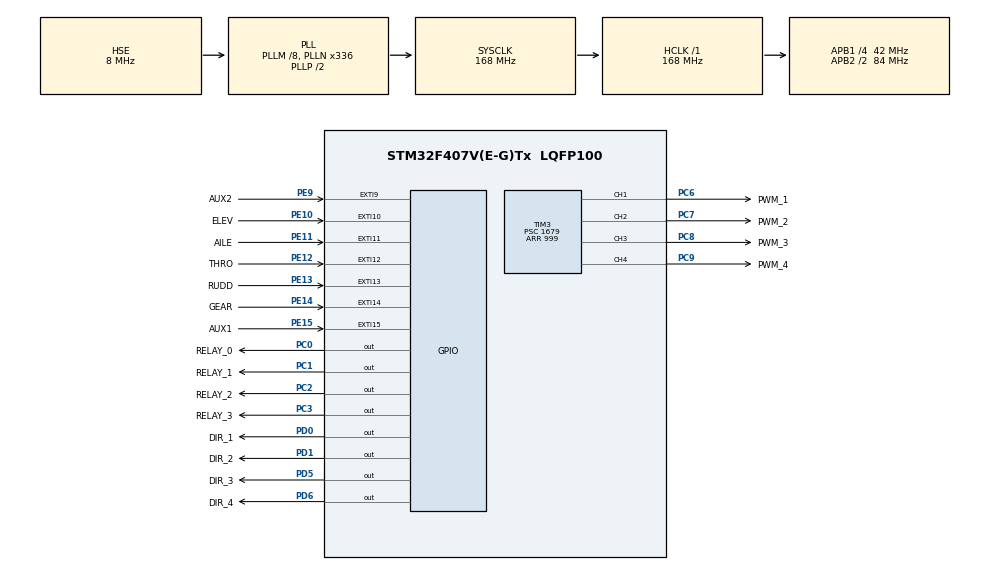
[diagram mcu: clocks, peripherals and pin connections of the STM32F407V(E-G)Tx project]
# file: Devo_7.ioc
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Mcu.Family=STM32F4
Mcu.Name=STM32F407V(E-G)Tx
Mcu.Package=LQFP100
NVIC.EXTI15_10_IRQn=true\:1\:0\:true\:false\:true\:true
NVIC.EXTI9_5_IRQn=true\:1\:0\:true\:false\:true\:true
NVIC.PriorityGroup=NVIC_PRIORITYGROUP_4
NVIC.TIM4_IRQn=true\:2\:0\:true\:false\:true\:true
NVIC.TIM5_IRQn=true\:2\:0\:true\:false\:true\:true
PA13.Mode=Serial_Wire
PA13.Signal=SYS_JTMS-SWDIO
PA14.Mode=Serial_Wire
PA14.Signal=SYS_JTCK-SWCLK
PC0.GPIO_Label=RELAY_0
PC0.Signal=GPIO_Output
PC1.GPIO_Label=RELAY_1
PC1.Signal=GPIO_Output
PC2.GPIO_Label=RELAY_2
PC2.Signal=GPIO_Output
PC3.GPIO_Label=RELAY_3
PC3.Signal=GPIO_Output
PC6.GPIO_Label=PWM_1
PC6.Signal=S_TIM3_CH1
PC7.GPIO_Label=PWM_2
PC7.Signal=S_TIM3_CH2
PC8.GPIO_Label=PWM_3
PC8.Signal=S_TIM3_CH3
PC9.GPIO_Label=PWM_4
PC9.Signal=S_TIM3_CH4
PD0.GPIO_Label=DIR_1
PD0.Signal=GPIO_Output
PD1.GPIO_Label=DIR_2
PD1.Signal=GPIO_Output
PD5.GPIO_Label=DIR_3
PD5.Signal=GPIO_Output
PD6.GPIO_Label=DIR_4
PD6.Signal=GPIO_Output
PE10.GPIO_Label=ELEV
PE10.GPIO_ModeDefaultEXTI=GPIO_MODE_IT_RISING_FALLING
PE10.Signal=GPXTI10
PE11.GPIO_Label=AILE
PE11.GPIO_ModeDefaultEXTI=GPIO_MODE_IT_RISING_FALLING
PE11.Signal=GPXTI11
PE12.GPIO_Label=THRO
PE12.GPIO_ModeDefaultEXTI=GPIO_MODE_IT_RISING_FALLING
PE12.Signal=GPXTI12
PE13.GPIO_Label=RUDD
PE13.GPIO_ModeDefaultEXTI=GPIO_MODE_IT_RISING_FALLING
PE13.Signal=GPXTI13
PE14.GPIO_Label=GEAR
PE14.GPIO_ModeDefaultEXTI=GPIO_MODE_IT_RISING_FALLING
PE14.Signal=GPXTI14
PE15.GPIO_Label=AUX1
PE15.GPIO_ModeDefaultEXTI=GPIO_MODE_IT_RISING_FALLING
PE15.Signal=GPXTI15
PE9.GPIO_Label=AUX2
PE9.GPIO_ModeDefaultEXTI=GPIO_MODE_IT_RISING_FALLING
PE9.Signal=GPXTI9
PH0-OSC_IN.Mode=HSE-External-Oscillator
PH0-OSC_IN.Signal=RCC_OSC_IN
PH1-OSC_OUT.Mode=HSE-External-Oscillator
PH1-OSC_OUT.Signal=RCC_OSC_OUT
ProjectManager.HeapSize=0x200
ProjectManager.StackSize=0x400
ProjectManager.TargetToolchain=TrueSTUDIO
RCC.48MHZClocksFreq_Value=84000000
RCC.AHBFreq_Value=168000000
RCC.APB1CLKDivider=RCC_HCLK_DIV4
RCC.APB1Freq_Value=42000000
RCC.APB1TimFreq_Value=84000000
RCC.APB2CLKDivider=RCC_HCLK_DIV2
RCC.APB2Freq_Value=84000000
RCC.APB2TimFreq_Value=168000000
RCC.CortexFreq_Value=168000000
RCC.EnbaleCSS=true
RCC.HCLKFreq_Value=168000000
RCC.HSE_VALUE=8000000
RCC.HSI_VALUE=16000000
RCC.LSE_VALUE=32768
RCC.PLLM=8
RCC.PLLN=336
RCC.PLLSourceVirtual=RCC_PLLSOURCE_HSE
RCC.SYSCLKFreq_VALUE=168000000
RCC.SYSCLKSource=RCC_SYSCLKSOURCE_PLLCLK
RCC.VCOOutputFreq_Value=336000000
SH.S_TIM3_CH1.0=TIM3_CH1,PWM Generation1 CH1
SH.S_TIM3_CH2.0=TIM3_CH2,PWM Generation2 CH2
SH.S_TIM3_CH3.0=TIM3_CH3,PWM Generation3 CH3
SH.S_TIM3_CH4.0=TIM3_CH4,PWM Generation4 CH4
TIM2.Period=0xFFFFFFFF
TIM2.Prescaler=83
TIM3.Channel-PWM\ Generation1\ CH1=TIM_CHANNEL_1
TIM3.Channel-PWM\ Generation2\ CH2=TIM_CHANNEL_2
TIM3.Channel-PWM\ Generation3\ CH3=TIM_CHANNEL_3
TIM3.Channel-PWM\ Generation4\ CH4=TIM_CHANNEL_4
TIM3.OCPolarity_1=TIM_OCPOLARITY_LOW
TIM3.OCPolarity_2=TIM_OCPOLARITY_LOW
TIM3.OCPolarity_3=TIM_OCPOLARITY_LOW
TIM3.OCPolarity_4=TIM_OCPOLARITY_LOW
TIM3.Period=999
TIM3.Prescaler=1679
TIM4.Period=39999
TIM4.Prescaler=83
TIM5.Period=39999
TIM5.Prescaler=83
VP_TIM2_VS_ClockSourceINT.Mode=Internal
VP_TIM4_VS_ClockSourceINT.Mode=Internal
VP_TIM5_VS_ClockSourceINT.Mode=Internal
board=custom

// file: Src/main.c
/**
  ******************************************************************************
  * @file           : main.c
  * @brief          : Main program body
  ******************************************************************************
  ** This notice applies to any and all portions of this file
  * that are not between comment pairs USER CODE BEGIN and
  * USER CODE END. Other portions of this file, whether
  * inserted by the user or by software development tools
  * are owned by their respective copyright owners.
  *
  * COPYRIGHT(c) 2019 STMicroelectronics
  *
  * Redistribution and use in source and binary forms, with or without modification,
  * are permitted provided that the following conditions are met:
  *   1. Redistributions of source code must retain the above copyright notice,
  *      this list of conditions and the following disclaimer.
  *   2. Redistributions in binary form must reproduce the above copyright notice,
  *      this list of conditions and the following disclaimer in the documentation
  *      and/or other materials provided with the distribution.
  *   3. Neither the name of STMicroelectronics nor the names of its contributors
  *      may be used to endorse or promote products derived from this software
  *      without specific prior written permission.
  *
  * THIS SOFTWARE IS PROVIDED BY THE COPYRIGHT HOLDERS AND CONTRIBUTORS "AS IS"
  * AND ANY EXPRESS OR IMPLIED WARRANTIES, INCLUDING, BUT NOT LIMITED TO, THE
  * IMPLIED WARRANTIES OF MERCHANTABILITY AND FITNESS FOR A PARTICULAR PURPOSE ARE
  * DISCLAIMED. IN NO EVENT SHALL THE COPYRIGHT HOLDER OR CONTRIBUTORS BE LIABLE
  * FOR ANY DIRECT, INDIRECT, INCIDENTAL, SPECIAL, EXEMPLARY, OR CONSEQUENTIAL
  * DAMAGES (INCLUDING, BUT NOT LIMITED TO, PROCUREMENT OF SUBSTITUTE GOODS OR
  * SERVICES; LOSS OF USE, DATA, OR PROFITS; OR BUSINESS INTERRUPTION) HOWEVER
  * CAUSED AND ON ANY THEORY OF LIABILITY, WHETHER IN CONTRACT, STRICT LIABILITY,
  * OR TORT (INCLUDING NEGLIGENCE OR OTHERWISE) ARISING IN ANY WAY OUT OF THE USE
  * OF THIS SOFTWARE, EVEN IF ADVISED OF THE POSSIBILITY OF SUCH DAMAGE.
  *
  ******************************************************************************
  */
#include "main.h"
#include "stm32f4xx_hal.h"

TIM_HandleTypeDef htim2;
TIM_HandleTypeDef htim3;
TIM_HandleTypeDef htim4;
TIM_HandleTypeDef htim5;

/* USER CODE BEGIN PV */
/* Private variables ---------------------------------------------------------*/
__IO uint16_t u16_PwmLeft = 0, u16_PwmRight = 0;
__IO int16_t i16_PwmLeftTemp = 0, i16_PwmRightTemp = 0;
__IO float f_PwmLeftTemp = 0, f_PwmRightTemp = 0;
__IO float f_PwmLeftFilter = 0, f_PwmRightFilter = 0;
__I float f_Kfilter = 0.025f;
__IO int16_t i16_PwmDirTemp = 0;

extern int32_t HighPulse[];
extern int32_t LowPulse[];
/* USER CODE END PV */

void SystemClock_Config(void);
static void MX_GPIO_Init(void);
static void MX_TIM2_Init(void);
static void MX_TIM3_Init(void);
static void MX_TIM4_Init(void);
static void MX_TIM5_Init(void);

void HAL_TIM_MspPostInit(TIM_HandleTypeDef *htim);

/* USER CODE BEGIN PFP */
/* Private function prototypes -----------------------------------------------*/

/* USER CODE END PFP */

int main(void)
{

  /* MCU Configuration----------------------------------------------------------*/

  /* Reset of all peripherals, Initializes the Flash interface and the Systick. */
  HAL_Init();

  /* Configure the system clock */
  SystemClock_Config();

  /* Initialize all configured peripherals */
  MX_GPIO_Init();
  MX_TIM2_Init();
  MX_TIM3_Init();
  MX_TIM4_Init();
  MX_TIM5_Init();
  /* USER CODE BEGIN 2 */
  /* Enable the Capture compare channel */
  TIM_CCxChannelCmd(htim3.Instance, TIM_CHANNEL_1, TIM_CCx_ENABLE);
  TIM_CCxChannelCmd(htim3.Instance, TIM_CHANNEL_2, TIM_CCx_ENABLE);
  TIM_CCxChannelCmd(htim3.Instance, TIM_CHANNEL_3, TIM_CCx_ENABLE);
  TIM_CCxChannelCmd(htim3.Instance, TIM_CHANNEL_4, TIM_CCx_ENABLE);
  /* Enable the main output */
  __HAL_TIM_MOE_ENABLE(&htim3);
  /* Clear the IT pending Bit */
  __HAL_TIM_CLEAR_IT(&htim3, TIM_IT_UPDATE);
  /* Disable the TIM Update interrupt */
  __HAL_TIM_DISABLE_IT(&htim3, TIM_IT_UPDATE);
__HAL_TIM_SET_COMPARE1(&htim3, 499);

__HAL_TIM_SET_COMPARE2(&htim3, 499);
__HAL_TIM_SET_COMPARE3(&htim3, 499);
__HAL_TIM_SET_COMPARE4(&htim3, 499);
__HAL_TIM_ENABLE(&htim3);
/*Enable Timer*/
__HAL_TIM_ENABLE(&htim2);
/* Clear the IT pending Bit */
__HAL_TIM_CLEAR_IT(&htim2, TIM_IT_UPDATE);
/* Disable the TIM Update interrupt */
__HAL_TIM_DISABLE_IT(&htim2, TIM_IT_UPDATE);

/*Enable Timer*/
__HAL_TIM_ENABLE(&htim4);
/* Clear the IT pending Bit */
__HAL_TIM_CLEAR_IT(&htim4, TIM_IT_UPDATE);
/* Disable the TIM Update interrupt */
__HAL_TIM_ENABLE_IT(&htim4, TIM_IT_UPDATE);

/*Enable Timer*/
__HAL_TIM_ENABLE(&htim5);
/* Clear the IT pending Bit */
__HAL_TIM_CLEAR_IT(&htim5, TIM_IT_UPDATE);
/* Disable the TIM Update interrupt */
__HAL_TIM_ENABLE_IT(&htim5, TIM_IT_UPDATE);
  /* USER CODE END 2 */

  /* Infinite loop */
  while (1)
  {

  /* USER CODE BEGIN 3 */

    i16_PwmLeftTemp = HighPulse[0] - HighPulse[3];
    if(i16_PwmLeftTemp >= 400)
    {
      i16_PwmLeftTemp = 400;
    }
    if(i16_PwmLeftTemp <= -400)
    {
      i16_PwmLeftTemp = -400;
    }
//    if(HighPulse[4] >= 0)
//    {}
//    else
//    {
//      i16_PwmLeftTemp = -i16_PwmLeftTemp;
//    }
    f_PwmLeftTemp = i16_PwmLeftTemp * 2.5f;
    f_PwmLeftFilter += f_Kfilter *(f_PwmLeftTemp - f_PwmLeftFilter);

    i16_PwmRightTemp = HighPulse[0] + HighPulse[3];
    if(i16_PwmRightTemp >= 400)
    {
      i16_PwmRightTemp = 400;
    }
    else if(i16_PwmRightTemp <= -400)
    {
      i16_PwmRightTemp = -400;
    }
//    if(HighPulse[4] >= 0)
//    {}
//    else
//    {
//      i16_PwmRightTemp = -i16_PwmRightTemp;
//    }
    f_PwmRightTemp = i16_PwmRightTemp * 2.5f;
    f_PwmRightFilter += f_Kfilter *(f_PwmRightTemp - f_PwmRightFilter);

    if(f_PwmLeftFilter >= 0)
    {
      u16_PwmLeft = f_PwmLeftFilter;
      __HAL_GPIO_RESET_GPIO(DIR_1_GPIO_Port, DIR_1_Pin);
    }
    else
    {
      u16_PwmLeft = -f_PwmLeftFilter;
      __HAL_GPIO_SET_GPIO(DIR_1_GPIO_Port, DIR_1_Pin);
    }
    if(f_PwmRightFilter >= 0)
    {
      u16_PwmRight = f_PwmRightFilter;
      __HAL_GPIO_RESET_GPIO(DIR_2_GPIO_Port, DIR_2_Pin);
    }
    else
    {
      u16_PwmRight = -f_PwmRightFilter;
      __HAL_GPIO_SET_GPIO(DIR_2_GPIO_Port, DIR_2_Pin);
    }
    __HAL_TIM_SET_COMPARE1(&htim3, u16_PwmLeft);
    __HAL_TIM_SET_COMPARE2(&htim3, u16_PwmRight);

    //RELAY
//    if(HighPulse[5] >= 0)
//    {
//      __HAL_GPIO_RESET_GPIO(RELAY_0_GPIO_Port, RELAY_0_Pin);
//      __HAL_GPIO_RESET_GPIO(RELAY_1_GPIO_Port, RELAY_1_Pin);
//      __HAL_GPIO_RESET_GPIO(RELAY_2_GPIO_Port, RELAY_2_Pin);
//      __HAL_GPIO_RESET_GPIO(RELAY_3_GPIO_Port, RELAY_3_Pin);
//    }
//    else
//    {
//      __HAL_GPIO_SET_GPIO(RELAY_0_GPIO_Port, RELAY_0_Pin);
//      __HAL_GPIO_SET_GPIO(RELAY_1_GPIO_Port, RELAY_1_Pin);
//      __HAL_GPIO_SET_GPIO(RELAY_2_GPIO_Port, RELAY_2_Pin);
//      __HAL_GPIO_SET_GPIO(RELAY_3_GPIO_Port, RELAY_3_Pin);
//    }
    HAL_Delay(1);
  }
  /* USER CODE END 3 */

}

void SystemClock_Config(void)
{

  RCC_OscInitTypeDef RCC_OscInitStruct;
  RCC_ClkInitTypeDef RCC_ClkInitStruct;

    /**Configure the main internal regulator output voltage
    */
  __HAL_RCC_PWR_CLK_ENABLE();

  __HAL_PWR_VOLTAGESCALING_CONFIG(PWR_REGULATOR_VOLTAGE_SCALE1);

    /**Initializes the CPU, AHB and APB busses clocks
    */
  RCC_OscInitStruct.OscillatorType = RCC_OSCILLATORTYPE_HSE;
  RCC_OscInitStruct.HSEState = RCC_HSE_ON;
  RCC_OscInitStruct.PLL.PLLState = RCC_PLL_ON;
  RCC_OscInitStruct.PLL.PLLSource = RCC_PLLSOURCE_HSE;
  RCC_OscInitStruct.PLL.PLLM = 8;
  RCC_OscInitStruct.PLL.PLLN = 336;
  RCC_OscInitStruct.PLL.PLLP = RCC_PLLP_DIV2;
  RCC_OscInitStruct.PLL.PLLQ = 4;
  if (HAL_RCC_OscConfig(&RCC_OscInitStruct) != HAL_OK)
  {
    _Error_Handler(__FILE__, __LINE__);
  }

    /**Initializes the CPU, AHB and APB busses clocks
    */
  RCC_ClkInitStruct.ClockType = RCC_CLOCKTYPE_HCLK|RCC_CLOCKTYPE_SYSCLK
                              |RCC_CLOCKTYPE_PCLK1|RCC_CLOCKTYPE_PCLK2;
  RCC_ClkInitStruct.SYSCLKSource = RCC_SYSCLKSOURCE_PLLCLK;
  RCC_ClkInitStruct.AHBCLKDivider = RCC_SYSCLK_DIV1;
  RCC_ClkInitStruct.APB1CLKDivider = RCC_HCLK_DIV4;
  RCC_ClkInitStruct.APB2CLKDivider = RCC_HCLK_DIV2;

  if (HAL_RCC_ClockConfig(&RCC_ClkInitStruct, FLASH_LATENCY_5) != HAL_OK)
  {
    _Error_Handler(__FILE__, __LINE__);
  }

    /**Enables the Clock Security System
    */
  HAL_RCC_EnableCSS();

    /**Configure the Systick interrupt time
    */
  HAL_SYSTICK_Config(HAL_RCC_GetHCLKFreq()/1000);

    /**Configure the Systick
    */
  HAL_SYSTICK_CLKSourceConfig(SYSTICK_CLKSOURCE_HCLK);

  /* SysTick_IRQn interrupt configuration */
  HAL_NVIC_SetPriority(SysTick_IRQn, 0, 0);
}

/* TIM2 init function */
static void MX_TIM2_Init(void)
{

  TIM_ClockConfigTypeDef sClockSourceConfig;
  TIM_MasterConfigTypeDef sMasterConfig;

  htim2.Instance = TIM2;
  htim2.Init.Prescaler = 83;
  htim2.Init.CounterMode = TIM_COUNTERMODE_UP;
  htim2.Init.Period = 0xFFFFFFFF;
  htim2.Init.ClockDivision = TIM_CLOCKDIVISION_DIV1;
  if (HAL_TIM_Base_Init(&htim2) != HAL_OK)
  {
    _Error_Handler(__FILE__, __LINE__);
  }

  sClockSourceConfig.ClockSource = TIM_CLOCKSOURCE_INTERNAL;
  if (HAL_TIM_ConfigClockSource(&htim2, &sClockSourceConfig) != HAL_OK)
  {
    _Error_Handler(__FILE__, __LINE__);
  }

  sMasterConfig.MasterOutputTrigger = TIM_TRGO_RESET;
  sMasterConfig.MasterSlaveMode = TIM_MASTERSLAVEMODE_DISABLE;
  if (HAL_TIMEx_MasterConfigSynchronization(&htim2, &sMasterConfig) != HAL_OK)
  {
    _Error_Handler(__FILE__, __LINE__);
  }

}

/* TIM3 init function */
static void MX_TIM3_Init(void)
{

  TIM_MasterConfigTypeDef sMasterConfig;
  TIM_OC_InitTypeDef sConfigOC;

  htim3.Instance = TIM3;
  htim3.Init.Prescaler = 1679;
  htim3.Init.CounterMode = TIM_COUNTERMODE_UP;
  htim3.Init.Period = 999;
  htim3.Init.ClockDivision = TIM_CLOCKDIVISION_DIV1;
  if (HAL_TIM_PWM_Init(&htim3) != HAL_OK)
  {
    _Error_Handler(__FILE__, __LINE__);
  }

  sMasterConfig.MasterOutputTrigger = TIM_TRGO_RESET;
  sMasterConfig.MasterSlaveMode = TIM_MASTERSLAVEMODE_DISABLE;
  if (HAL_TIMEx_MasterConfigSynchronization(&htim3, &sMasterConfig) != HAL_OK)
  {
    _Error_Handler(__FILE__, __LINE__);
  }

  sConfigOC.OCMode = TIM_OCMODE_PWM1;
  sConfigOC.Pulse = 0;
  sConfigOC.OCPolarity = TIM_OCPOLARITY_LOW;
  sConfigOC.OCFastMode = TIM_OCFAST_DISABLE;
  if (HAL_TIM_PWM_ConfigChannel(&htim3, &sConfigOC, TIM_CHANNEL_1) != HAL_OK)
  {
    _Error_Handler(__FILE__, __LINE__);
  }

  if (HAL_TIM_PWM_ConfigChannel(&htim3, &sConfigOC, TIM_CHANNEL_2) != HAL_OK)
  {
    _Error_Handler(__FILE__, __LINE__);
  }

  if (HAL_TIM_PWM_ConfigChannel(&htim3, &sConfigOC, TIM_CHANNEL_3) != HAL_OK)
  {
    _Error_Handler(__FILE__, __LINE__);
  }

  if (HAL_TIM_PWM_ConfigChannel(&htim3, &sConfigOC, TIM_CHANNEL_4) != HAL_OK)
  {
    _Error_Handler(__FILE__, __LINE__);
  }

  HAL_TIM_MspPostInit(&htim3);

}

/* TIM4 init function */
static void MX_TIM4_Init(void)
{

  TIM_ClockConfigTypeDef sClockSourceConfig;
  TIM_MasterConfigTypeDef sMasterConfig;

  htim4.Instance = TIM4;
  htim4.Init.Prescaler = 83;
  htim4.Init.CounterMode = TIM_COUNTERMODE_UP;
  htim4.Init.Period = 39999;
  htim4.Init.ClockDivision = TIM_CLOCKDIVISION_DIV1;
  if (HAL_TIM_Base_Init(&htim4) != HAL_OK)
  {
    _Error_Handler(__FILE__, __LINE__);
  }

  sClockSourceConfig.ClockSource = TIM_CLOCKSOURCE_INTERNAL;
  if (HAL_TIM_ConfigClockSource(&htim4, &sClockSourceConfig) != HAL_OK)
  {
    _Error_Handler(__FILE__, __LINE__);
  }

  sMasterConfig.MasterOutputTrigger = TIM_TRGO_RESET;
  sMasterConfig.MasterSlaveMode = TIM_MASTERSLAVEMODE_DISABLE;
  if (HAL_TIMEx_MasterConfigSynchronization(&htim4, &sMasterConfig) != HAL_OK)
  {
    _Error_Handler(__FILE__, __LINE__);
  }

}

/* TIM5 init function */
static void MX_TIM5_Init(void)
{

  TIM_ClockConfigTypeDef sClockSourceConfig;
  TIM_MasterConfigTypeDef sMasterConfig;

  htim5.Instance = TIM5;
  htim5.Init.Prescaler = 83;
  htim5.Init.CounterMode = TIM_COUNTERMODE_UP;
  htim5.Init.Period = 39999;
  htim5.Init.ClockDivision = TIM_CLOCKDIVISION_DIV1;
  if (HAL_TIM_Base_Init(&htim5) != HAL_OK)
  {
    _Error_Handler(__FILE__, __LINE__);
  }

  sClockSourceConfig.ClockSource = TIM_CLOCKSOURCE_INTERNAL;
  if (HAL_TIM_ConfigClockSource(&htim5, &sClockSourceConfig) != HAL_OK)
  {
    _Error_Handler(__FILE__, __LINE__);
  }

  sMasterConfig.MasterOutputTrigger = TIM_TRGO_RESET;
  sMasterConfig.MasterSlaveMode = TIM_MASTERSLAVEMODE_DISABLE;
  if (HAL_TIMEx_MasterConfigSynchronization(&htim5, &sMasterConfig) != HAL_OK)
  {
    _Error_Handler(__FILE__, __LINE__);
  }

}

/** Configure pins as
        * Analog
        * Input
        * Output
        * EVENT_OUT
        * EXTI
*/
static void MX_GPIO_Init(void)
{

  GPIO_InitTypeDef GPIO_InitStruct;

  /* GPIO Ports Clock Enable */
  __HAL_RCC_GPIOH_CLK_ENABLE();
  __HAL_RCC_GPIOC_CLK_ENABLE();
  __HAL_RCC_GPIOE_CLK_ENABLE();
  __HAL_RCC_GPIOA_CLK_ENABLE();
  __HAL_RCC_GPIOD_CLK_ENABLE();

  /*Configure GPIO pin Output Level */
  HAL_GPIO_WritePin(GPIOC, RELAY_0_Pin|RELAY_1_Pin|RELAY_2_Pin|RELAY_3_Pin, GPIO_PIN_RESET);

  /*Configure GPIO pin Output Level */
  HAL_GPIO_WritePin(GPIOD, DIR_1_Pin|DIR_2_Pin|DIR_3_Pin|DIR_4_Pin, GPIO_PIN_RESET);

  /*Configure GPIO pins : RELAY_0_Pin RELAY_1_Pin RELAY_2_Pin RELAY_3_Pin */
  GPIO_InitStruct.Pin = RELAY_0_Pin|RELAY_1_Pin|RELAY_2_Pin|RELAY_3_Pin;
  GPIO_InitStruct.Mode = GPIO_MODE_OUTPUT_PP;
  GPIO_InitStruct.Pull = GPIO_NOPULL;
  GPIO_InitStruct.Speed = GPIO_SPEED_FREQ_LOW;
  HAL_GPIO_Init(GPIOC, &GPIO_InitStruct);

  /*Configure GPIO pins : AUX2_Pin ELEV_Pin AILE_Pin THRO_Pin
                           RUDD_Pin GEAR_Pin AUX1_Pin */
  GPIO_InitStruct.Pin = AUX2_Pin|ELEV_Pin|AILE_Pin|THRO_Pin
                          |RUDD_Pin|GEAR_Pin|AUX1_Pin;
  GPIO_InitStruct.Mode = GPIO_MODE_IT_RISING_FALLING;
  GPIO_InitStruct.Pull = GPIO_NOPULL;
  HAL_GPIO_Init(GPIOE, &GPIO_InitStruct);

  /*Configure GPIO pins : DIR_1_Pin DIR_2_Pin DIR_3_Pin DIR_4_Pin */
  GPIO_InitStruct.Pin = DIR_1_Pin|DIR_2_Pin|DIR_3_Pin|DIR_4_Pin;
  GPIO_InitStruct.Mode = GPIO_MODE_OUTPUT_PP;
  GPIO_InitStruct.Pull = GPIO_NOPULL;
  GPIO_InitStruct.Speed = GPIO_SPEED_FREQ_LOW;
  HAL_GPIO_Init(GPIOD, &GPIO_InitStruct);

  /* EXTI interrupt init*/
  HAL_NVIC_SetPriority(EXTI9_5_IRQn, 1, 0);
  HAL_NVIC_EnableIRQ(EXTI9_5_IRQn);

  HAL_NVIC_SetPriority(EXTI15_10_IRQn, 1, 0);
  HAL_NVIC_EnableIRQ(EXTI15_10_IRQn);

}

void _Error_Handler(char *file, int line)
{
  while(1)
  {
  }
}

/************************ (C) COPYRIGHT STMicroelectronics *****END OF FILE****/
